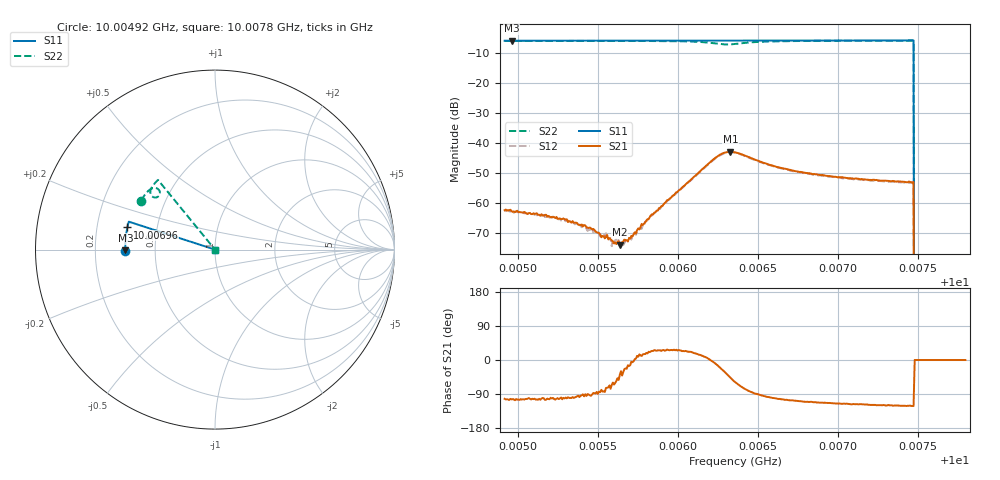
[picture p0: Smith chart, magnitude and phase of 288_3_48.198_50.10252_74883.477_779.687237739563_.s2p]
#  HZ  S  RI  R  50.00
! Rohde & Schwarz Vector Network Analyzer
! Rohde-Schwarz,ZNB20-2Port,1311601062101988,3.16
! Created: UTC 3/20/2024, 11:48:58 AM
! freq[Hz]  re:S11  im:S11  re:S21  im:S21  re:S12  im:S12  re:S22  im:S22
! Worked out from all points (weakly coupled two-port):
!   401 points, 10.00492 GHz to 10.0078 GHz, reference 50 ohm
!   highest |S21| = -43.05 dB at 10.00633 GHz (marker M1); lowest = -74.1 dB at 10.00564 GHz (marker M2)
!   lowest |S11| = -6.0 dB at 10.00496 GHz (marker M3), VSWR 3.00, Z = 16.7 - j0.209 ohm
!   |S11| at or under -10 dB: 10.00747 GHz to end of sweep
!   |S22| runs from - to -6.0 dB; largest |S21 - S12| = 0.00041
!   S11 on the Smith chart (normalised r, x): 10.00492 GHz: 0.33, -0.01; 10.00696 GHz: 0.33, +0.11; 10.0078 GHz: 1.00, +0.00
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1.0004917e10  -0.4994 -0.00757  -0.000161 -0.000729  -0.000145 -0.000724  -0.4119 0.273
1.000496e10  -0.4994 -0.0047  -0.000175 -0.000699  -0.000127 -0.000706  -0.4106 0.2756
1.0005147e10  -0.4998 0.00742  -0.000131 -0.000626  -0.000101 -0.000595  -0.4036 0.2866
1.0005399e10  -0.4997 0.0239  -2.21e-05 -0.00043  -2.09e-05 -0.000387  -0.3933 0.3017
1.0005464e10  -0.4999 0.028  -4.59e-06 -0.000358  1.31e-05 -0.00038  -0.3903 0.3056
1.0005536e10  -0.4996 0.0326  3.47e-05 -0.00027  4.3e-05 -0.00028  -0.3869 0.3099
1.0005565e10  -0.4994 0.0345  7.31e-05 -0.000232  9.25e-05 -0.000236  -0.3856 0.3118
1.0005601e10  -0.4994 0.037  8.82e-05 -0.000188  0.000128 -0.000169  -0.3837 0.314
1.0005637e10  -0.4993 0.0392  0.000153 -0.000125  0.000169 -0.000117  -0.3817 0.3162
1.0005651e10  -0.4993 0.0402  0.000164 -0.000142  0.000182 -9.81e-05  -0.3809 0.3172
1.0005723e10  -0.4991 0.0448  0.000293 -1.6e-05  0.000306 -2.82e-06  -0.3769 0.3218
1.0005881e10  -0.4983 0.0551  0.000732 0.000343  0.000706 0.000348  -0.3658 0.332
1.0006227e10  -0.4956 0.0772  0.00534 -0.000663  0.00525 -0.000404  -0.3101 0.3291
1.0006328e10  -0.4946 0.0833  0.00481 -0.00514  0.00498 -0.00476  -0.321 0.2926
1.0006357e10  -0.4945 0.0851  0.00365 -0.00584  0.00386 -0.00556  -0.3325 0.2899
1.0006616e10  -0.4924 0.1015  -0.000791 -0.00385  -0.000584 -0.00384  -0.3592 0.3309
1.0006839e10  -0.4899 0.1158  -0.00106 -0.00279  -0.000943 -0.00279  -0.3493 0.3519
1.0006962e10  -0.4882 0.1235  -0.0011 -0.00249  -0.000955 -0.00251  -0.3432 0.3607
1.0007322e10  -0.4827 0.146  -0.00112 -0.00198  -0.00101 -0.00201  -0.3251 0.3809
1.0007458e10  -0.4803 0.1546  -0.00114 -0.00188  -0.00102 -0.00187  -0.3182 0.3877
1.0007494e10  0 0  0 0  0 0  0 0
1.0007797e10  0 0  0 0  0 0  0 0
